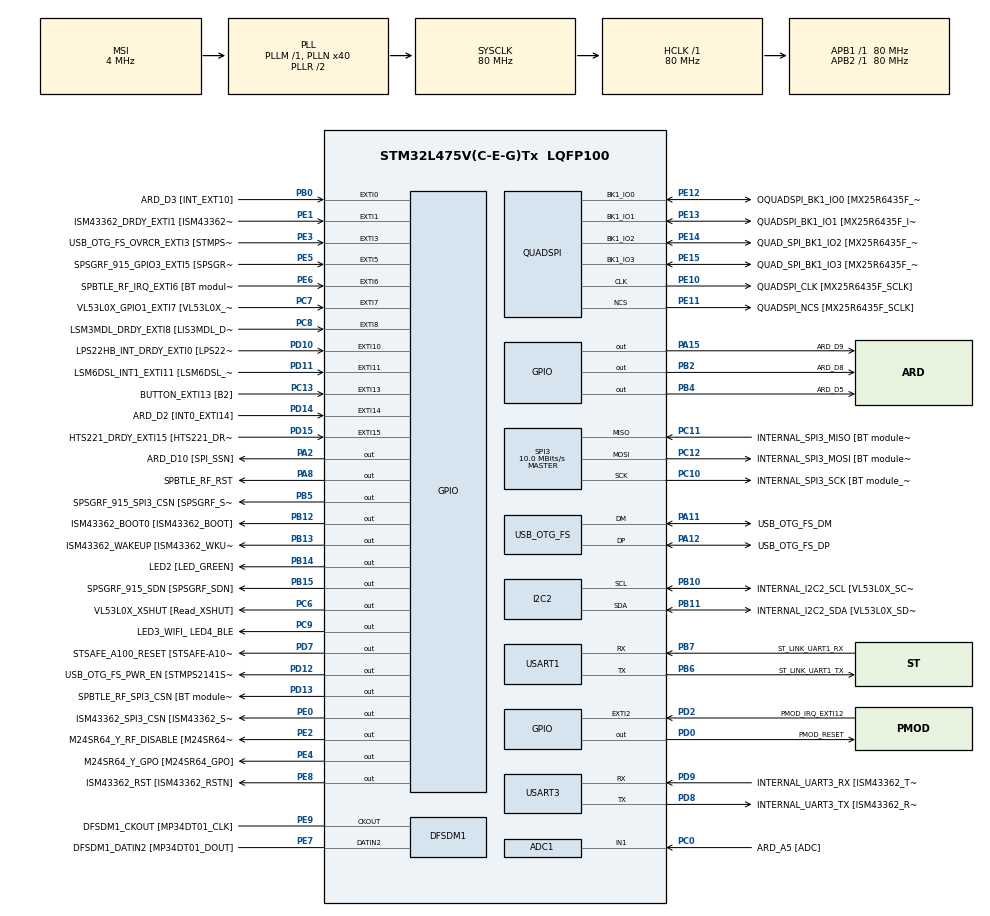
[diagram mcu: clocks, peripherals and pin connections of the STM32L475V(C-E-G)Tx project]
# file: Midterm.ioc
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ADC1.Channel-0\#ChannelRegularConversion=ADC_CHANNEL_1
ADC1.NbrOfConversionFlag=1
ADC1.OffsetNumber-0\#ChannelRegularConversion=ADC_OFFSET_NONE
ADC1.Rank-0\#ChannelRegularConversion=1
ADC1.SamplingTime-0\#ChannelRegularConversion=ADC_SAMPLETIME_2CYCLES_5
ADC1.master=1
I2C2.Timing=0x10909CEC
Mcu.Family=STM32L4
Mcu.Name=STM32L475V(C-E-G)Tx
Mcu.Package=LQFP100
NVIC.ADC1_2_IRQn=true\:0\:0\:false\:false\:true\:true\:true
NVIC.EXTI15_10_IRQn=true\:0\:0\:false\:false\:true\:true\:true
NVIC.EXTI1_IRQn=true\:0\:0\:false\:false\:true\:true\:true
NVIC.EXTI9_5_IRQn=true\:0\:0\:false\:false\:true\:true\:true
NVIC.PriorityGroup=NVIC_PRIORITYGROUP_4
NVIC.SPI3_IRQn=true\:0\:0\:false\:false\:true\:true\:true
PA0.GPIO_Label=ARD_D1 [UART4_TX]
PA0.Signal=UART4_TX
PA1.GPIO_Label=ARD_D0 [UART4_RX]
PA1.Signal=UART4_RX
PA10.GPIO_Label=USB_OTG_FS_ID
PA10.Signal=USB_OTG_FS_ID
PA11.GPIO_Label=USB_OTG_FS_DM
PA11.Mode=Device_Only
PA11.Signal=USB_OTG_FS_DM
PA12.GPIO_Label=USB_OTG_FS_DP
PA12.Mode=Device_Only
PA12.Signal=USB_OTG_FS_DP
PA13\ (JTMS-SWDIO).GPIO_Label=SYS_JTMS_SWDIO
PA13\ (JTMS-SWDIO).Mode=Serial_Wire
PA13\ (JTMS-SWDIO).Signal=SYS_JTMS-SWDIO
PA14\ (JTCK-SWCLK).GPIO_Label=SYS_JTCK_SWCLK
PA14\ (JTCK-SWCLK).Mode=Serial_Wire
PA14\ (JTCK-SWCLK).Signal=SYS_JTCK-SWCLK
PA15\ (JTDI).GPIO_Label=ARD_D9
PA15\ (JTDI).Signal=GPIO_Output
PA2.GPIO_Label=ARD_D10 [SPI_SSN]
PA2.Signal=GPIO_Output
PA3.GPIO_Label=ARD_D4
PA3.Signal=S_TIM2_CH4
PA4.GPIO_Label=ARD_D7
PA4.Signal=ADCx_IN9
PA5.GPIO_Label=ARD_D13 [SPI1_SCK]
PA5.Signal=SPI1_SCK
PA6.GPIO_Label=ARD_D12 [SPI1_MISO]
PA6.Signal=SPI1_MISO
PA7.GPIO_Label=ARD_D11 [SPI1_MOSI]
PA7.Signal=SPI1_MOSI
PA8.GPIO_Label=SPBTLE_RF_RST
PA8.Signal=GPIO_Output
PA9.GPIO_Label=USB_OTG_FS_VBUS [STMPS2141STR_OUT]
PA9.Signal=USB_OTG_FS_VBUS
PB0.GPIO_Label=ARD_D3 [INT_EXT10]
PB0.Signal=GPXTI0
PB1.GPIO_Label=ARD_D6 [ADC1_IN6]
PB1.Signal=ADCx_IN16
PB10.GPIO_Label=INTERNAL_I2C2_SCL [VL53L0X_SCL]
PB10.Mode=I2C
PB10.Signal=I2C2_SCL
PB11.GPIO_Label=INTERNAL_I2C2_SDA [VL53L0X_SDA]
PB11.Mode=I2C
PB11.Signal=I2C2_SDA
PB12.GPIO_Label=ISM43362_BOOT0 [ISM43362_BOOT]
PB12.Signal=GPIO_Output
PB13.GPIO_Label=ISM43362_WAKEUP [ISM43362_WKUP]
PB13.Signal=GPIO_Output
PB14.GPIO_Label=LED2 [LED_GREEN]
PB14.Signal=GPIO_Output
PB15.GPIO_Label=SPSGRF_915_SDN [SPSGRF_SDN]
PB15.Signal=GPIO_Output
PB2.GPIO_Label=ARD_D8
PB2.Signal=GPIO_Output
PB3\ (JTDO-TRACESWO).GPIO_Label=SYS_JTD0_SWO
PB3\ (JTDO-TRACESWO).Signal=SYS_JTDO-SWO
PB4\ (NJTRST).GPIO_Label=ARD_D5
PB4\ (NJTRST).Signal=GPIO_Output
PB5.GPIO_Label=SPSGRF_915_SPI3_CSN [SPSGRF_SPI_CS]
PB5.PinState=GPIO_PIN_SET
PB5.Signal=GPIO_Output
PB6.GPIO_Label=ST_LINK_UART1_TX
PB6.Mode=Asynchronous
PB6.Signal=USART1_TX
PB7.GPIO_Label=ST_LINK_UART1_RX
PB7.Mode=Asynchronous
PB7.Signal=USART1_RX
PB8.GPIO_Label=ARD_D15 [I2C1_SCL]
PB8.Signal=I2C1_SCL
PB9.GPIO_Label=ARD_D14 [I2C1_SDA]
PB9.Signal=I2C1_SDA
PC0.GPIO_Label=ARD_A5 [ADC]
PC0.Signal=ADCx_IN1
PC1.GPIO_Label=ARD_A4 [ADC]
PC1.Signal=ADCx_IN2
PC10.GPIO_Label=INTERNAL_SPI3_SCK [BT module_SPI_SCLK] [ISM43362_SCK]
PC10.Mode=Full_Duplex_Master
PC10.Signal=SPI3_SCK
PC11.GPIO_Label=INTERNAL_SPI3_MISO [BT module_SPI_MISO] [ISM43362_MISO]
PC11.Mode=Full_Duplex_Master
PC11.Signal=SPI3_MISO
PC12.GPIO_Label=INTERNAL_SPI3_MOSI [BT module_SPI_MOSI] [ISM43362_MOSI]
PC12.Mode=Full_Duplex_Master
PC12.Signal=SPI3_MOSI
PC13.GPIO_Label=BUTTON_EXTI13 [B2]
PC13.GPIO_ModeDefaultEXTI=GPIO_MODE_IT_FALLING
PC13.Signal=GPXTI13
PC14-OSC32_IN\ (PC14).Mode=LSE-External-Oscillator
PC14-OSC32_IN\ (PC14).Signal=RCC_OSC32_IN
PC15-OSC32_OUT\ (PC15).Mode=LSE-External-Oscillator
PC15-OSC32_OUT\ (PC15).Signal=RCC_OSC32_OUT
PC2.GPIO_Label=ARD_A3 [ADC]
PC2.Signal=ADCx_IN3
PC3.GPIO_Label=ARD_A2 [ADC]
PC3.Signal=ADCx_IN4
PC4.GPIO_Label=ARD_A1 [ADC]
PC4.Signal=ADCx_IN13
PC5.GPIO_Label=ARD_A0 [ADC]
PC5.Signal=ADCx_IN14
PC6.GPIO_Label=VL53L0X_XSHUT [Read_XSHUT]
PC6.Signal=GPIO_Output
PC7.GPIO_Label=VL53L0X_GPIO1_EXTI7 [VL53L0X_GPIO1]
PC7.Signal=GPXTI7
PC8.GPIO_Label=LSM3MDL_DRDY_EXTI8 [LIS3MDL_DRDY]
PC8.Signal=GPXTI8
PC9.GPIO_Label=LED3_WIFI_ LED4_BLE
PC9.Signal=GPIO_Output
PD0.GPIO_Label=PMOD_RESET
PD0.Signal=GPIO_Output
PD1.GPIO_Label=PMOD_SPI2_SCK
PD1.Signal=SPI2_SCK
PD10.GPIO_Label=LPS22HB_INT_DRDY_EXTI0 [LPS22HB_INT_DRDY] 
PD10.Signal=GPXTI10
PD11.GPIO_Label=LSM6DSL_INT1_EXTI11 [LSM6DSL_INT1]
PD11.Signal=GPXTI11
PD12.GPIO_Label=USB_OTG_FS_PWR_EN [STMPS2141STR_EN]
PD12.Signal=GPIO_Output
PD13.GPIO_Label=SPBTLE_RF_SPI3_CSN [BT module_SPI_CS]
PD13.PinState=GPIO_PIN_SET
PD13.Signal=GPIO_Output
PD14.GPIO_Label=ARD_D2 [INT0_EXTI14]
PD14.Signal=GPXTI14
PD15.GPIO_Label=HTS221_DRDY_EXTI15 [HTS221_DRDY]
PD15.Signal=GPXTI15
PD2.GPIO_Label=PMOD_IRQ_EXTI12
PD2.Signal=GPXTI2
PD3.GPIO_Label=PMOD_UART2_CTS
PD3.Signal=USART2_CTS
PD4.GPIO_Label=PMOD_UART2_RTS
PD4.Signal=USART2_RTS
PD5.GPIO_Label=PMOD_UART2_TX
PD5.Signal=USART2_TX
PD6.GPIO_Label=PMOD_UART2_RX
PD6.Signal=USART2_RX
PD7.GPIO_Label=STSAFE_A100_RESET [STSAFE-A100_RESET]
PD7.Signal=GPIO_Output
PD8.GPIO_Label=INTERNAL_UART3_TX [ISM43362_RX]
PD8.Mode=Asynchronous
PD8.Signal=USART3_TX
PD9.GPIO_Label=INTERNAL_UART3_RX [ISM43362_TX]
PD9.Mode=Asynchronous
PD9.Signal=USART3_RX
PE0.GPIO_Label=ISM43362_SPI3_CSN [ISM43362_SSN]
PE0.PinState=GPIO_PIN_SET
PE0.Signal=GPIO_Output
PE1.GPIO_Label=ISM43362_DRDY_EXTI1 [ISM43362_DATARDY]
PE1.Signal=GPXTI1
PE10.GPIO_Label=QUADSPI_CLK [MX25R6435F_SCLK]
PE10.Mode=Single Bank
PE10.Signal=QUADSPI_CLK
PE11.GPIO_Label=QUADSPI_NCS [MX25R6435F_SCLK]
PE11.Mode=Single Bank
PE11.Signal=QUADSPI_NCS
PE12.GPIO_Label=OQUADSPI_BK1_IO0 [MX25R6435F_IO0]
PE12.Mode=Single Bank
PE12.Signal=QUADSPI_BK1_IO0
PE13.GPIO_Label=QUADSPI_BK1_IO1 [MX25R6435F_IO1]
PE13.Mode=Single Bank
PE13.Signal=QUADSPI_BK1_IO1
PE14.GPIO_Label=QUAD_SPI_BK1_IO2 [MX25R6435F_IO2]
PE14.Mode=Single Bank
PE14.Signal=QUADSPI_BK1_IO2
PE15.GPIO_Label=QUAD_SPI_BK1_IO3 [MX25R6435F_IO3]
PE15.Mode=Single Bank
PE15.Signal=QUADSPI_BK1_IO3
PE2.GPIO_Label=M24SR64_Y_RF_DISABLE [M24SR64_RFDIS]
PE2.Signal=GPIO_Output
PE3.GPIO_Label=USB_OTG_FS_OVRCR_EXTI3 [STMPS2141STR_FAULT]
PE3.Signal=GPXTI3
PE4.GPIO_Label=M24SR64_Y_GPO [M24SR64_GPO]
PE4.Signal=GPIO_Output
PE5.GPIO_Label=SPSGRF_915_GPIO3_EXTI5 [SPSGRF_GPIO_3]
PE5.Signal=GPXTI5
PE6.GPIO_Label=SPBTLE_RF_IRQ_EXTI6 [BT module_SPI_IRQ]
PE6.Signal=GPXTI6
PE7.GPIO_Label=DFSDM1_DATIN2 [MP34DT01_DOUT]
PE7.Signal=S_DATAIN2DFSDM1
PE8.GPIO_Label=ISM43362_RST [ISM43362_RSTN]
PE8.Signal=GPIO_Output
PE9.GPIO_Label=DFSDM1_CKOUT [MP34DT01_CLK]
PE9.Signal=S_CKOUTDFSDM1
ProjectManager.HeapSize=0x200
ProjectManager.StackSize=0x400
ProjectManager.TargetToolchain=STM32CubeIDE
RCC.ADCFreq_Value=48000000
RCC.AHBFreq_Value=80000000
RCC.APB1Freq_Value=80000000
RCC.APB1TimFreq_Value=80000000
RCC.APB2Freq_Value=80000000
RCC.APB2TimFreq_Value=80000000
RCC.CortexFreq_Value=80000000
RCC.HCLKFreq_Value=80000000
RCC.HSE_VALUE=8000000
RCC.HSI_VALUE=16000000
RCC.MSI_VALUE=4000000
RCC.PLLN=40
RCC.PLLSAI1N=24
RCC.SYSCLKFreq_VALUE=80000000
RCC.SYSCLKSource=RCC_SYSCLKSOURCE_PLLCLK
RCC.USBFreq_Value=48000000
RCC.VCOOutputFreq_Value=160000000
SH.ADCx_IN1.0=ADC1_IN1,IN1-Single-Ended
SH.ADCx_IN13.0=ADC1_IN13
SH.ADCx_IN14.0=ADC1_IN14
SH.ADCx_IN16.0=ADC1_IN16
SH.ADCx_IN2.0=ADC1_IN2
SH.ADCx_IN3.0=ADC1_IN3
SH.ADCx_IN4.0=ADC1_IN4
SH.ADCx_IN9.0=ADC1_IN9
SH.S_CKOUTDFSDM1.0=DFSDM1_CKOUT,CKOUT
SH.S_CKOUTDFSDM1.1=DFSDM1_CKOUT,PDM_SPI_Input_from_ch12_and_Internal_Clock
SH.S_DATAIN2DFSDM1.0=DFSDM1_DATIN2,PDM_SPI_Input_from_ch12_and_Internal_Clock
SH.S_TIM2_CH4.0=TIM2_CH4
SPI3.BaudRatePrescaler=SPI_BAUDRATEPRESCALER_8
SPI3.CalculateBaudRate=10.0 MBits/s
SPI3.DataSize=SPI_DATASIZE_16BIT
SPI3.Direction=SPI_DIRECTION_2LINES
SPI3.Mode=SPI_MODE_MASTER
SPI3.NSSPMode=SPI_NSS_PULSE_DISABLE
SPI3.VirtualType=VM_MASTER
USART1.VirtualMode-Asynchronous=VM_ASYNC
USART3.VirtualMode-Asynchronous=VM_ASYNC
USB_OTG_FS.VirtualMode=Device_Only
board=B-L475E-IOT01A1

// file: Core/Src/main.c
/* USER CODE BEGIN Header */
/**
  ******************************************************************************
  * @file           : main.c
  * @brief          : Main program body
  ******************************************************************************
  * @attention
  *
  * <h2><center>&copy; Copyright (c) 2020 STMicroelectronics.
  * All rights reserved.</center></h2>
  *
  * This software component is licensed by ST under BSD 3-Clause license,
  * the "License"; You may not use this file except in compliance with the
  * License. You may obtain a copy of the License at:
  *                        opensource.org/licenses/BSD-3-Clause
  *
  ******************************************************************************
  */
/* USER CODE END Header */
#include "main.h"

/* USER CODE BEGIN Includes */

#include <stdint.h>
#include "stm32l475e_iot01.h"
#include "SensorManager.h"
#include "Time.h" // Custom Time Library"
#include "vl53l0x_api.h"
#include "vl53l0x_platform.h"
#include "TOF.h"
#include "WiFiController.h"
#include "DBG_UART.h"
/* USER CODE END Includes */

ADC_HandleTypeDef hadc1;

DFSDM_Channel_HandleTypeDef hdfsdm1_channel1;

I2C_HandleTypeDef hi2c2;

QSPI_HandleTypeDef hqspi;

SPI_HandleTypeDef hspi3;

UART_HandleTypeDef huart1;
UART_HandleTypeDef huart3;

PCD_HandleTypeDef hpcd_USB_OTG_FS;

void SystemClock_Config(void);
static void MX_GPIO_Init(void);
static void MX_DFSDM1_Init(void);
static void MX_I2C2_Init(void);
static void MX_QUADSPI_Init(void);
static void MX_USART1_UART_Init(void);
static void MX_USART3_UART_Init(void);
static void MX_USB_OTG_FS_PCD_Init(void);
static void MX_SPI3_Init(void);
static void MX_ADC1_Init(void);

int main(void)
{

  /* MCU Configuration--------------------------------------------------------*/

  /* Reset of all peripherals, Initializes the Flash interface and the Systick. */
  HAL_Init();

  /* Configure the system clock */
  SystemClock_Config();

  /* USER CODE BEGIN SysInit */
  Time_Init(); // initialize timer
  /* USER CODE END SysInit */

  /* Initialize all configured peripherals */
  MX_GPIO_Init();
  MX_DFSDM1_Init();
  MX_I2C2_Init();
  MX_QUADSPI_Init();
  MX_USART1_UART_Init();
  MX_USART3_UART_Init();
  MX_USB_OTG_FS_PCD_Init();
  MX_SPI3_Init();
  MX_ADC1_Init();
  /* USER CODE BEGIN 2 */
  DBG_UART_Init();

  /* USER CODE END 2 */

  /* Infinite loop */
  /* USER CODE BEGIN WHILE */

    SensorInit(STTemperature);
    SensorInit(STProximity);

    EnableSensor(STTemperature);
    EnableSensor(STProximity);
    BSP_LED_Init(LED2);
    BSP_LED_Off(LED2);
    WiFi_Controller_Init();
  while (1)
  {
	  //WiFi_Controller_Task();
	  SensorTask();
    /* USER CODE END WHILE */

  }
}

void SystemClock_Config(void)
{
  RCC_OscInitTypeDef RCC_OscInitStruct = {0};
  RCC_ClkInitTypeDef RCC_ClkInitStruct = {0};
  RCC_PeriphCLKInitTypeDef PeriphClkInit = {0};

  /** Configure LSE Drive Capability
  */
  HAL_PWR_EnableBkUpAccess();
  __HAL_RCC_LSEDRIVE_CONFIG(RCC_LSEDRIVE_LOW);
  /** Initializes the RCC Oscillators according to the specified parameters
  * in the RCC_OscInitTypeDef structure.
  */
  RCC_OscInitStruct.OscillatorType = RCC_OSCILLATORTYPE_LSE|RCC_OSCILLATORTYPE_MSI;
  RCC_OscInitStruct.LSEState = RCC_LSE_ON;
  RCC_OscInitStruct.MSIState = RCC_MSI_ON;
  RCC_OscInitStruct.MSICalibrationValue = 0;
  RCC_OscInitStruct.MSIClockRange = RCC_MSIRANGE_6;
  RCC_OscInitStruct.PLL.PLLState = RCC_PLL_ON;
  RCC_OscInitStruct.PLL.PLLSource = RCC_PLLSOURCE_MSI;
  RCC_OscInitStruct.PLL.PLLM = 1;
  RCC_OscInitStruct.PLL.PLLN = 40;
  RCC_OscInitStruct.PLL.PLLP = RCC_PLLP_DIV7;
  RCC_OscInitStruct.PLL.PLLQ = RCC_PLLQ_DIV2;
  RCC_OscInitStruct.PLL.PLLR = RCC_PLLR_DIV2;
  if (HAL_RCC_OscConfig(&RCC_OscInitStruct) != HAL_OK)
  {
    Error_Handler();
  }
  /** Initializes the CPU, AHB and APB buses clocks
  */
  RCC_ClkInitStruct.ClockType = RCC_CLOCKTYPE_HCLK|RCC_CLOCKTYPE_SYSCLK
                              |RCC_CLOCKTYPE_PCLK1|RCC_CLOCKTYPE_PCLK2;
  RCC_ClkInitStruct.SYSCLKSource = RCC_SYSCLKSOURCE_PLLCLK;
  RCC_ClkInitStruct.AHBCLKDivider = RCC_SYSCLK_DIV1;
  RCC_ClkInitStruct.APB1CLKDivider = RCC_HCLK_DIV1;
  RCC_ClkInitStruct.APB2CLKDivider = RCC_HCLK_DIV1;

  if (HAL_RCC_ClockConfig(&RCC_ClkInitStruct, FLASH_LATENCY_4) != HAL_OK)
  {
    Error_Handler();
  }
  PeriphClkInit.PeriphClockSelection = RCC_PERIPHCLK_USART1|RCC_PERIPHCLK_USART3
                              |RCC_PERIPHCLK_I2C2|RCC_PERIPHCLK_DFSDM1
                              |RCC_PERIPHCLK_USB|RCC_PERIPHCLK_ADC;
  PeriphClkInit.Usart1ClockSelection = RCC_USART1CLKSOURCE_PCLK2;
  PeriphClkInit.Usart3ClockSelection = RCC_USART3CLKSOURCE_PCLK1;
  PeriphClkInit.I2c2ClockSelection = RCC_I2C2CLKSOURCE_PCLK1;
  PeriphClkInit.AdcClockSelection = RCC_ADCCLKSOURCE_PLLSAI1;
  PeriphClkInit.Dfsdm1ClockSelection = RCC_DFSDM1CLKSOURCE_PCLK;
  PeriphClkInit.UsbClockSelection = RCC_USBCLKSOURCE_PLLSAI1;
  PeriphClkInit.PLLSAI1.PLLSAI1Source = RCC_PLLSOURCE_MSI;
  PeriphClkInit.PLLSAI1.PLLSAI1M = 1;
  PeriphClkInit.PLLSAI1.PLLSAI1N = 24;
  PeriphClkInit.PLLSAI1.PLLSAI1P = RCC_PLLP_DIV7;
  PeriphClkInit.PLLSAI1.PLLSAI1Q = RCC_PLLQ_DIV2;
  PeriphClkInit.PLLSAI1.PLLSAI1R = RCC_PLLR_DIV2;
  PeriphClkInit.PLLSAI1.PLLSAI1ClockOut = RCC_PLLSAI1_48M2CLK|RCC_PLLSAI1_ADC1CLK;
  if (HAL_RCCEx_PeriphCLKConfig(&PeriphClkInit) != HAL_OK)
  {
    Error_Handler();
  }
  /** Configure the main internal regulator output voltage
  */
  if (HAL_PWREx_ControlVoltageScaling(PWR_REGULATOR_VOLTAGE_SCALE1) != HAL_OK)
  {
    Error_Handler();
  }
  /** Enable MSI Auto calibration
  */
  HAL_RCCEx_EnableMSIPLLMode();
}

static void MX_ADC1_Init(void)
{

  ADC_MultiModeTypeDef multimode = {0};
  ADC_ChannelConfTypeDef sConfig = {0};

  /** Common config
  */
  hadc1.Instance = ADC1;
  hadc1.Init.ClockPrescaler = ADC_CLOCK_ASYNC_DIV1;
  hadc1.Init.Resolution = ADC_RESOLUTION_12B;
  hadc1.Init.DataAlign = ADC_DATAALIGN_RIGHT;
  hadc1.Init.ScanConvMode = ADC_SCAN_DISABLE;
  hadc1.Init.EOCSelection = ADC_EOC_SINGLE_CONV;
  hadc1.Init.LowPowerAutoWait = DISABLE;
  hadc1.Init.ContinuousConvMode = DISABLE;
  hadc1.Init.NbrOfConversion = 1;
  hadc1.Init.DiscontinuousConvMode = DISABLE;
  hadc1.Init.ExternalTrigConv = ADC_SOFTWARE_START;
  hadc1.Init.ExternalTrigConvEdge = ADC_EXTERNALTRIGCONVEDGE_NONE;
  hadc1.Init.DMAContinuousRequests = DISABLE;
  hadc1.Init.Overrun = ADC_OVR_DATA_PRESERVED;
  hadc1.Init.OversamplingMode = DISABLE;
  if (HAL_ADC_Init(&hadc1) != HAL_OK)
  {
    Error_Handler();
  }
  /** Configure the ADC multi-mode
  */
  multimode.Mode = ADC_MODE_INDEPENDENT;
  if (HAL_ADCEx_MultiModeConfigChannel(&hadc1, &multimode) != HAL_OK)
  {
    Error_Handler();
  }
  /** Configure Regular Channel
  */
  sConfig.Channel = ADC_CHANNEL_1;
  sConfig.Rank = ADC_REGULAR_RANK_1;
  sConfig.SamplingTime = ADC_SAMPLETIME_2CYCLES_5;
  sConfig.SingleDiff = ADC_SINGLE_ENDED;
  sConfig.OffsetNumber = ADC_OFFSET_NONE;
  sConfig.Offset = 0;
  if (HAL_ADC_ConfigChannel(&hadc1, &sConfig) != HAL_OK)
  {
    Error_Handler();
  }

}

static void MX_DFSDM1_Init(void)
{

  hdfsdm1_channel1.Instance = DFSDM1_Channel1;
  hdfsdm1_channel1.Init.OutputClock.Activation = ENABLE;
  hdfsdm1_channel1.Init.OutputClock.Selection = DFSDM_CHANNEL_OUTPUT_CLOCK_SYSTEM;
  hdfsdm1_channel1.Init.OutputClock.Divider = 2;
  hdfsdm1_channel1.Init.Input.Multiplexer = DFSDM_CHANNEL_EXTERNAL_INPUTS;
  hdfsdm1_channel1.Init.Input.DataPacking = DFSDM_CHANNEL_STANDARD_MODE;
  hdfsdm1_channel1.Init.Input.Pins = DFSDM_CHANNEL_FOLLOWING_CHANNEL_PINS;
  hdfsdm1_channel1.Init.SerialInterface.Type = DFSDM_CHANNEL_SPI_RISING;
  hdfsdm1_channel1.Init.SerialInterface.SpiClock = DFSDM_CHANNEL_SPI_CLOCK_INTERNAL;
  hdfsdm1_channel1.Init.Awd.FilterOrder = DFSDM_CHANNEL_FASTSINC_ORDER;
  hdfsdm1_channel1.Init.Awd.Oversampling = 1;
  hdfsdm1_channel1.Init.Offset = 0;
  hdfsdm1_channel1.Init.RightBitShift = 0x00;
  if (HAL_DFSDM_ChannelInit(&hdfsdm1_channel1) != HAL_OK)
  {
    Error_Handler();
  }

}

static void MX_I2C2_Init(void)
{

  hi2c2.Instance = I2C2;
  hi2c2.Init.Timing = 0x10909CEC;
  hi2c2.Init.OwnAddress1 = 0;
  hi2c2.Init.AddressingMode = I2C_ADDRESSINGMODE_7BIT;
  hi2c2.Init.DualAddressMode = I2C_DUALADDRESS_DISABLE;
  hi2c2.Init.OwnAddress2 = 0;
  hi2c2.Init.OwnAddress2Masks = I2C_OA2_NOMASK;
  hi2c2.Init.GeneralCallMode = I2C_GENERALCALL_DISABLE;
  hi2c2.Init.NoStretchMode = I2C_NOSTRETCH_DISABLE;
  if (HAL_I2C_Init(&hi2c2) != HAL_OK)
  {
    Error_Handler();
  }
  /** Configure Analogue filter
  */
  if (HAL_I2CEx_ConfigAnalogFilter(&hi2c2, I2C_ANALOGFILTER_ENABLE) != HAL_OK)
  {
    Error_Handler();
  }
  /** Configure Digital filter
  */
  if (HAL_I2CEx_ConfigDigitalFilter(&hi2c2, 0) != HAL_OK)
  {
    Error_Handler();
  }

}

static void MX_QUADSPI_Init(void)
{

  /* QUADSPI parameter configuration*/
  hqspi.Instance = QUADSPI;
  hqspi.Init.ClockPrescaler = 255;
  hqspi.Init.FifoThreshold = 1;
  hqspi.Init.SampleShifting = QSPI_SAMPLE_SHIFTING_NONE;
  hqspi.Init.FlashSize = 1;
  hqspi.Init.ChipSelectHighTime = QSPI_CS_HIGH_TIME_1_CYCLE;
  hqspi.Init.ClockMode = QSPI_CLOCK_MODE_0;
  if (HAL_QSPI_Init(&hqspi) != HAL_OK)
  {
    Error_Handler();
  }

}

static void MX_SPI3_Init(void)
{

  /* SPI3 parameter configuration*/
  hspi3.Instance = SPI3;
  hspi3.Init.Mode = SPI_MODE_MASTER;
  hspi3.Init.Direction = SPI_DIRECTION_2LINES;
  hspi3.Init.DataSize = SPI_DATASIZE_16BIT;
  hspi3.Init.CLKPolarity = SPI_POLARITY_LOW;
  hspi3.Init.CLKPhase = SPI_PHASE_1EDGE;
  hspi3.Init.NSS = SPI_NSS_SOFT;
  hspi3.Init.BaudRatePrescaler = SPI_BAUDRATEPRESCALER_8;
  hspi3.Init.FirstBit = SPI_FIRSTBIT_MSB;
  hspi3.Init.TIMode = SPI_TIMODE_DISABLE;
  hspi3.Init.CRCCalculation = SPI_CRCCALCULATION_DISABLE;
  hspi3.Init.CRCPolynomial = 7;
  hspi3.Init.CRCLength = SPI_CRC_LENGTH_DATASIZE;
  hspi3.Init.NSSPMode = SPI_NSS_PULSE_DISABLE;
  if (HAL_SPI_Init(&hspi3) != HAL_OK)
  {
    Error_Handler();
  }

}

static void MX_USART1_UART_Init(void)
{

  huart1.Instance = USART1;
  huart1.Init.BaudRate = 115200;
  huart1.Init.WordLength = UART_WORDLENGTH_8B;
  huart1.Init.StopBits = UART_STOPBITS_1;
  huart1.Init.Parity = UART_PARITY_NONE;
  huart1.Init.Mode = UART_MODE_TX_RX;
  huart1.Init.HwFlowCtl = UART_HWCONTROL_NONE;
  huart1.Init.OverSampling = UART_OVERSAMPLING_16;
  huart1.Init.OneBitSampling = UART_ONE_BIT_SAMPLE_DISABLE;
  huart1.AdvancedInit.AdvFeatureInit = UART_ADVFEATURE_NO_INIT;
  if (HAL_UART_Init(&huart1) != HAL_OK)
  {
    Error_Handler();
  }

}

static void MX_USART3_UART_Init(void)
{

  huart3.Instance = USART3;
  huart3.Init.BaudRate = 115200;
  huart3.Init.WordLength = UART_WORDLENGTH_8B;
  huart3.Init.StopBits = UART_STOPBITS_1;
  huart3.Init.Parity = UART_PARITY_NONE;
  huart3.Init.Mode = UART_MODE_TX_RX;
  huart3.Init.HwFlowCtl = UART_HWCONTROL_NONE;
  huart3.Init.OverSampling = UART_OVERSAMPLING_16;
  huart3.Init.OneBitSampling = UART_ONE_BIT_SAMPLE_DISABLE;
  huart3.AdvancedInit.AdvFeatureInit = UART_ADVFEATURE_NO_INIT;
  if (HAL_UART_Init(&huart3) != HAL_OK)
  {
    Error_Handler();
  }

}

static void MX_USB_OTG_FS_PCD_Init(void)
{

  hpcd_USB_OTG_FS.Instance = USB_OTG_FS;
  hpcd_USB_OTG_FS.Init.dev_endpoints = 6;
  hpcd_USB_OTG_FS.Init.speed = PCD_SPEED_FULL;
  hpcd_USB_OTG_FS.Init.phy_itface = PCD_PHY_EMBEDDED;
  hpcd_USB_OTG_FS.Init.Sof_enable = DISABLE;
  hpcd_USB_OTG_FS.Init.low_power_enable = DISABLE;
  hpcd_USB_OTG_FS.Init.lpm_enable = DISABLE;
  hpcd_USB_OTG_FS.Init.battery_charging_enable = DISABLE;
  hpcd_USB_OTG_FS.Init.use_dedicated_ep1 = DISABLE;
  hpcd_USB_OTG_FS.Init.vbus_sensing_enable = DISABLE;
  if (HAL_PCD_Init(&hpcd_USB_OTG_FS) != HAL_OK)
  {
    Error_Handler();
  }

}

static void MX_GPIO_Init(void)
{
  GPIO_InitTypeDef GPIO_InitStruct = {0};

  /* GPIO Ports Clock Enable */
  __HAL_RCC_GPIOE_CLK_ENABLE();
  __HAL_RCC_GPIOC_CLK_ENABLE();
  __HAL_RCC_GPIOA_CLK_ENABLE();
  __HAL_RCC_GPIOB_CLK_ENABLE();
  __HAL_RCC_GPIOD_CLK_ENABLE();

  /*Configure GPIO pin Output Level */
  HAL_GPIO_WritePin(GPIOE, M24SR64_Y_RF_DISABLE_Pin|M24SR64_Y_GPO_Pin|ISM43362_RST_Pin, GPIO_PIN_RESET);

  /*Configure GPIO pin Output Level */
  HAL_GPIO_WritePin(GPIOA, ARD_D10_Pin|SPBTLE_RF_RST_Pin|ARD_D9_Pin, GPIO_PIN_RESET);

  /*Configure GPIO pin Output Level */
  HAL_GPIO_WritePin(GPIOB, ARD_D8_Pin|ISM43362_BOOT0_Pin|ISM43362_WAKEUP_Pin|LED2_Pin
                          |SPSGRF_915_SDN_Pin|ARD_D5_Pin, GPIO_PIN_RESET);

  /*Configure GPIO pin Output Level */
  HAL_GPIO_WritePin(GPIOD, USB_OTG_FS_PWR_EN_Pin|PMOD_RESET_Pin|STSAFE_A100_RESET_Pin, GPIO_PIN_RESET);

  /*Configure GPIO pin Output Level */
  HAL_GPIO_WritePin(SPBTLE_RF_SPI3_CSN_GPIO_Port, SPBTLE_RF_SPI3_CSN_Pin, GPIO_PIN_SET);

  /*Configure GPIO pin Output Level */
  HAL_GPIO_WritePin(GPIOC, VL53L0X_XSHUT_Pin|LED3_WIFI__LED4_BLE_Pin, GPIO_PIN_RESET);

  /*Configure GPIO pin Output Level */
  HAL_GPIO_WritePin(SPSGRF_915_SPI3_CSN_GPIO_Port, SPSGRF_915_SPI3_CSN_Pin, GPIO_PIN_SET);

  /*Configure GPIO pin Output Level */
  HAL_GPIO_WritePin(ISM43362_SPI3_CSN_GPIO_Port, ISM43362_SPI3_CSN_Pin, GPIO_PIN_SET);

  /*Configure GPIO pins : M24SR64_Y_RF_DISABLE_Pin M24SR64_Y_GPO_Pin ISM43362_RST_Pin ISM43362_SPI3_CSN_Pin */
  GPIO_InitStruct.Pin = M24SR64_Y_RF_DISABLE_Pin|M24SR64_Y_GPO_Pin|ISM43362_RST_Pin|ISM43362_SPI3_CSN_Pin;
  GPIO_InitStruct.Mode = GPIO_MODE_OUTPUT_PP;
  GPIO_InitStruct.Pull = GPIO_NOPULL;
  GPIO_InitStruct.Speed = GPIO_SPEED_FREQ_LOW;
  HAL_GPIO_Init(GPIOE, &GPIO_InitStruct);

  /*Configure GPIO pins : USB_OTG_FS_OVRCR_EXTI3_Pin SPSGRF_915_GPIO3_EXTI5_Pin SPBTLE_RF_IRQ_EXTI6_Pin ISM43362_DRDY_EXTI1_Pin */
  GPIO_InitStruct.Pin = USB_OTG_FS_OVRCR_EXTI3_Pin|SPSGRF_915_GPIO3_EXTI5_Pin|SPBTLE_RF_IRQ_EXTI6_Pin|ISM43362_DRDY_EXTI1_Pin;
  GPIO_InitStruct.Mode = GPIO_MODE_IT_RISING;
  GPIO_InitStruct.Pull = GPIO_NOPULL;
  HAL_GPIO_Init(GPIOE, &GPIO_InitStruct);

  /*Configure GPIO pin : BUTTON_EXTI13_Pin */
  GPIO_InitStruct.Pin = BUTTON_EXTI13_Pin;
  GPIO_InitStruct.Mode = GPIO_MODE_IT_FALLING;
  GPIO_InitStruct.Pull = GPIO_NOPULL;
  HAL_GPIO_Init(BUTTON_EXTI13_GPIO_Port, &GPIO_InitStruct);

  /*Configure GPIO pins : ARD_D1_Pin ARD_D0_Pin */
  GPIO_InitStruct.Pin = ARD_D1_Pin|ARD_D0_Pin;
  GPIO_InitStruct.Mode = GPIO_MODE_AF_PP;
  GPIO_InitStruct.Pull = GPIO_NOPULL;
  GPIO_InitStruct.Speed = GPIO_SPEED_FREQ_VERY_HIGH;
  GPIO_InitStruct.Alternate = GPIO_AF8_UART4;
  HAL_GPIO_Init(GPIOA, &GPIO_InitStruct);

  /*Configure GPIO pins : ARD_D10_Pin SPBTLE_RF_RST_Pin ARD_D9_Pin */
  GPIO_InitStruct.Pin = ARD_D10_Pin|SPBTLE_RF_RST_Pin|ARD_D9_Pin;
  GPIO_InitStruct.Mode = GPIO_MODE_OUTPUT_PP;
  GPIO_InitStruct.Pull = GPIO_NOPULL;
  GPIO_InitStruct.Speed = GPIO_SPEED_FREQ_LOW;
  HAL_GPIO_Init(GPIOA, &GPIO_InitStruct);

  /*Configure GPIO pin : ARD_D4_Pin */
  GPIO_InitStruct.Pin = ARD_D4_Pin;
  GPIO_InitStruct.Mode = GPIO_MODE_AF_PP;
  GPIO_InitStruct.Pull = GPIO_NOPULL;
  GPIO_InitStruct.Speed = GPIO_SPEED_FREQ_LOW;
  GPIO_InitStruct.Alternate = GPIO_AF1_TIM2;
  HAL_GPIO_Init(ARD_D4_GPIO_Port, &GPIO_InitStruct);

  /*Configure GPIO pins : ARD_D13_Pin ARD_D12_Pin ARD_D11_Pin */
  GPIO_InitStruct.Pin = ARD_D13_Pin|ARD_D12_Pin|ARD_D11_Pin;
  GPIO_InitStruct.Mode = GPIO_MODE_AF_PP;
  GPIO_InitStruct.Pull = GPIO_NOPULL;
  GPIO_InitStruct.Speed = GPIO_SPEED_FREQ_VERY_HIGH;
  GPIO_InitStruct.Alternate = GPIO_AF5_SPI1;
  HAL_GPIO_Init(GPIOA, &GPIO_InitStruct);

  /*Configure GPIO pin : ARD_D3_Pin */
  GPIO_InitStruct.Pin = ARD_D3_Pin;
  GPIO_InitStruct.Mode = GPIO_MODE_IT_RISING;
  GPIO_InitStruct.Pull = GPIO_NOPULL;
  HAL_GPIO_Init(ARD_D3_GPIO_Port, &GPIO_InitStruct);

  /*Configure GPIO pins : ARD_D8_Pin ISM43362_BOOT0_Pin ISM43362_WAKEUP_Pin LED2_Pin
                           SPSGRF_915_SDN_Pin ARD_D5_Pin SPSGRF_915_SPI3_CSN_Pin */
  GPIO_InitStruct.Pin = ARD_D8_Pin|ISM43362_BOOT0_Pin|ISM43362_WAKEUP_Pin|LED2_Pin
                          |SPSGRF_915_SDN_Pin|ARD_D5_Pin|SPSGRF_915_SPI3_CSN_Pin;
  GPIO_InitStruct.Mode = GPIO_MODE_OUTPUT_PP;
  GPIO_InitStruct.Pull = GPIO_NOPULL;
  GPIO_InitStruct.Speed = GPIO_SPEED_FREQ_LOW;
  HAL_GPIO_Init(GPIOB, &GPIO_InitStruct);

  /*Configure GPIO pins : LPS22HB_INT_DRDY_EXTI0_Pin LSM6DSL_INT1_EXTI11_Pin ARD_D2_Pin HTS221_DRDY_EXTI15_Pin
                           PMOD_IRQ_EXTI12_Pin */
  GPIO_InitStruct.Pin = LPS22HB_INT_DRDY_EXTI0_Pin|LSM6DSL_INT1_EXTI11_Pin|ARD_D2_Pin|HTS221_DRDY_EXTI15_Pin
                          |PMOD_IRQ_EXTI12_Pin;
  GPIO_InitStruct.Mode = GPIO_MODE_IT_RISING;
  GPIO_InitStruct.Pull = GPIO_NOPULL;
  HAL_GPIO_Init(GPIOD, &GPIO_InitStruct);

  /*Configure GPIO pins : USB_OTG_FS_PWR_EN_Pin SPBTLE_RF_SPI3_CSN_Pin PMOD_RESET_Pin STSAFE_A100_RESET_Pin */
  GPIO_InitStruct.Pin = USB_OTG_FS_PWR_EN_Pin|SPBTLE_RF_SPI3_CSN_Pin|PMOD_RESET_Pin|STSAFE_A100_RESET_Pin;
  GPIO_InitStruct.Mode = GPIO_MODE_OUTPUT_PP;
  GPIO_InitStruct.Pull = GPIO_NOPULL;
  GPIO_InitStruct.Speed = GPIO_SPEED_FREQ_LOW;
  HAL_GPIO_Init(GPIOD, &GPIO_InitStruct);

  /*Configure GPIO pins : VL53L0X_XSHUT_Pin LED3_WIFI__LED4_BLE_Pin */
  GPIO_InitStruct.Pin = VL53L0X_XSHUT_Pin|LED3_WIFI__LED4_BLE_Pin;
  GPIO_InitStruct.Mode = GPIO_MODE_OUTPUT_PP;
  GPIO_InitStruct.Pull = GPIO_NOPULL;
  GPIO_InitStruct.Speed = GPIO_SPEED_FREQ_LOW;
  HAL_GPIO_Init(GPIOC, &GPIO_InitStruct);

  /*Configure GPIO pins : VL53L0X_GPIO1_EXTI7_Pin LSM3MDL_DRDY_EXTI8_Pin */
  GPIO_InitStruct.Pin = VL53L0X_GPIO1_EXTI7_Pin|LSM3MDL_DRDY_EXTI8_Pin;
  GPIO_InitStruct.Mode = GPIO_MODE_IT_RISING;
  GPIO_InitStruct.Pull = GPIO_NOPULL;
  HAL_GPIO_Init(GPIOC, &GPIO_InitStruct);

  /*Configure GPIO pin : PMOD_SPI2_SCK_Pin */
  GPIO_InitStruct.Pin = PMOD_SPI2_SCK_Pin;
  GPIO_InitStruct.Mode = GPIO_MODE_AF_PP;
  GPIO_InitStruct.Pull = GPIO_NOPULL;
  GPIO_InitStruct.Speed = GPIO_SPEED_FREQ_VERY_HIGH;
  GPIO_InitStruct.Alternate = GPIO_AF5_SPI2;
  HAL_GPIO_Init(PMOD_SPI2_SCK_GPIO_Port, &GPIO_InitStruct);

  /*Configure GPIO pins : PMOD_UART2_CTS_Pin PMOD_UART2_RTS_Pin PMOD_UART2_TX_Pin PMOD_UART2_RX_Pin */
  GPIO_InitStruct.Pin = PMOD_UART2_CTS_Pin|PMOD_UART2_RTS_Pin|PMOD_UART2_TX_Pin|PMOD_UART2_RX_Pin;
  GPIO_InitStruct.Mode = GPIO_MODE_AF_PP;
  GPIO_InitStruct.Pull = GPIO_NOPULL;
  GPIO_InitStruct.Speed = GPIO_SPEED_FREQ_VERY_HIGH;
  GPIO_InitStruct.Alternate = GPIO_AF7_USART2;
  HAL_GPIO_Init(GPIOD, &GPIO_InitStruct);

  /*Configure GPIO pins : ARD_D15_Pin ARD_D14_Pin */
  GPIO_InitStruct.Pin = ARD_D15_Pin|ARD_D14_Pin;
  GPIO_InitStruct.Mode = GPIO_MODE_AF_OD;
  GPIO_InitStruct.Pull = GPIO_PULLUP;
  GPIO_InitStruct.Speed = GPIO_SPEED_FREQ_VERY_HIGH;
  GPIO_InitStruct.Alternate = GPIO_AF4_I2C1;
  HAL_GPIO_Init(GPIOB, &GPIO_InitStruct);

  /* EXTI interrupt init*/
  HAL_NVIC_SetPriority(EXTI1_IRQn, 0, 0);
  HAL_NVIC_EnableIRQ(EXTI1_IRQn);

  HAL_NVIC_SetPriority(EXTI9_5_IRQn, 0, 0);
  HAL_NVIC_EnableIRQ(EXTI9_5_IRQn);

  HAL_NVIC_SetPriority(EXTI15_10_IRQn, 0, 0);
  HAL_NVIC_EnableIRQ(EXTI15_10_IRQn);

}

/* USER CODE BEGIN 4 */
void HAL_GPIO_EXTI_Callback(uint16_t GPIO_Pin)
{
  switch (GPIO_Pin)
  {
    case (1<<1):
      WiFiControllerISR();
      break;
    case (1<<13):
    	//push-button
		reset_alarm_state();
    default:
      break;
  }
}
/* USER CODE END 4 */

void Error_Handler(void)
{
}

/************************ (C) COPYRIGHT STMicroelectronics *****END OF FILE****/
